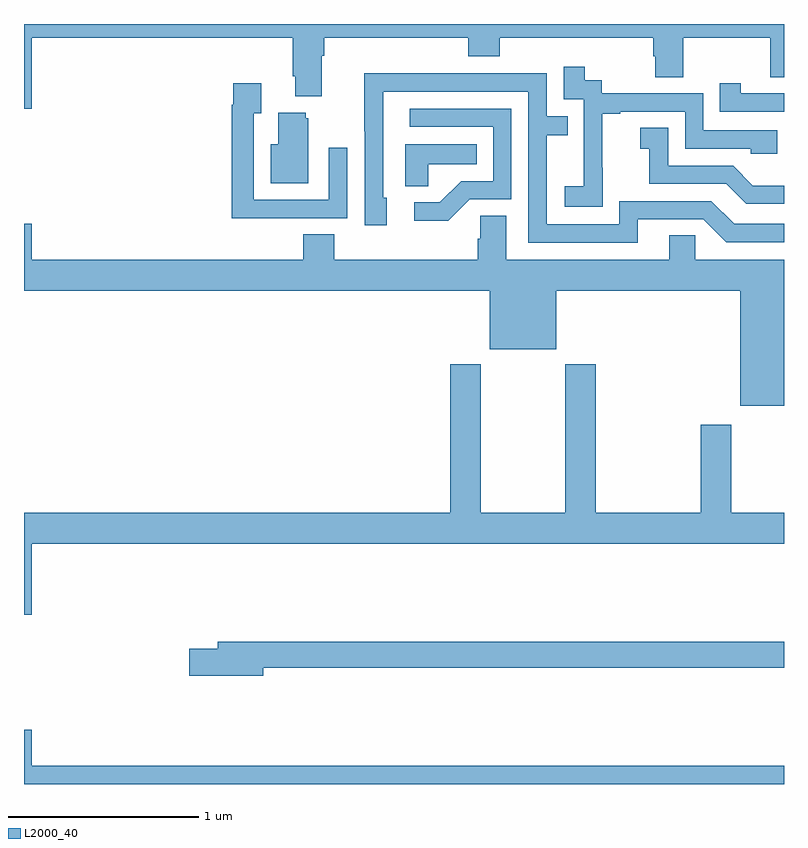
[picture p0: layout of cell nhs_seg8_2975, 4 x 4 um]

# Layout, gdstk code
import gdstk
lib = gdstk.Library(unit=1e-6, precision=1e-09)
def P(c, l, *ps):  # polygons
    for p in ps: c.add(gdstk.Polygon(p, *l))
L2000_40 = (2000, 40)

nhs_seg8_2975 = lib.new_cell('nhs_seg8_2975')
P(nhs_seg8_2975, L2000_40, [(297,1121.454),(297.04,1121.454),(297.04,1121.828),(298.415,1121.828),(298.415,1121.626),(298.427,1121.626),(298.427,1121.519),(298.567,1121.519),(298.567,1121.732),(298.58,1121.732),(298.58,1121.828),(299.339,1121.828),(299.339,1121.729),(299.504,1121.729),(299.504,1121.828),(300.311,1121.828),(300.311,1121.73),(300.323,1121.73),(300.323,1121.62),(300.471,1121.62),(300.471,1121.828),(300.928,1121.828),(300.928,1121.62),(301,1121.62),(301,1121.9),(297,1121.9)],
  [(300.045,1121.143),(300.044,1121.143),(300.044,1121.427),(300.139,1121.427),(300.139,1121.439),(300.48,1121.439),(300.48,1121.244),(300.825,1121.244),(300.825,1121.217),(300.965,1121.217),(300.965,1121.34),(300.576,1121.34),(300.576,1121.535),(300.042,1121.535),(300.042,1121.604),(299.95,1121.604),(299.95,1121.674),(299.841,1121.674),(299.841,1121.505),(299.946,1121.505),(299.946,1121.276),(299.945,1121.276),(299.945,1121.047),(299.847,1121.047),(299.847,1120.937),(300.045,1120.937)],
  [(300.229,1120.872),(300.576,1120.872),(300.696,1120.752),(301,1120.752),(301,1120.848),(300.738,1120.848),(300.618,1120.968),(300.132,1120.968),(300.132,1120.845),(299.751,1120.845),(299.751,1121.314),(299.861,1121.314),(299.861,1121.415),(299.751,1121.415),(299.751,1121.64),(299.255,1121.64),(299.255,1121.642),(298.792,1121.642),(298.792,1121.335),(298.794,1121.335),(298.794,1120.842),(298.909,1120.842),(298.909,1120.986),(298.89,1120.986),(298.89,1121.544),(299.655,1121.544),(299.655,1120.749),(300.229,1120.749)],
  [(301,1121.535),(300.772,1121.535),(300.772,1121.587),(300.661,1121.587),(300.661,1121.439),(301,1121.439)],
  [(298.385,1120.878),(298.701,1120.878),(298.701,1121.248),(298.605,1121.248),(298.605,1120.974),(298.209,1120.974),(298.209,1121.431),(298.249,1121.431),(298.249,1121.587),(298.101,1121.587),(298.101,1121.474),(298.093,1121.474),(298.093,1120.877),(298.385,1120.877)],
  [(299.346,1120.977),(299.565,1120.977),(299.565,1121.454),(299.031,1121.454),(299.031,1121.358),(299.469,1121.358),(299.469,1121.073),(299.3,1121.073),(299.189,1120.962),(299.055,1120.962),(299.055,1120.865),(299.233,1120.865)],
  [(298.495,1121.403),(298.484,1121.403),(298.484,1121.434),(298.337,1121.434),(298.337,1121.266),(298.298,1121.266),(298.298,1121.063),(298.495,1121.063)],
  [(301,1121.05),(300.836,1121.05),(300.732,1121.154),(300.39,1121.154),(300.39,1121.353),(300.243,1121.353),(300.243,1121.243),(300.292,1121.243),(300.292,1121.058),(300.695,1121.058),(300.8,1120.953),(301,1120.953)],
  [(299.127,1121.162),(299.384,1121.162),(299.384,1121.266),(299.006,1121.266),(299.006,1121.047),(299.127,1121.047)],
  [(300.77,1119.89),(301,1119.89),(301,1120.66),(300.534,1120.66),(300.534,1120.787),(300.395,1120.787),(300.395,1120.66),(299.539,1120.66),(299.539,1120.892),(299.4,1120.892),(299.4,1120.769),(299.387,1120.769),(299.387,1120.66),(298.634,1120.66),(298.634,1120.793),(298.469,1120.793),(298.469,1120.66),(297.04,1120.66),(297.04,1120.849),(297,1120.849),(297,1120.496),(299.45,1120.496),(299.45,1120.187),(299.8,1120.187),(299.8,1120.496),(300.77,1120.496)],
  [(297.04,1119.164),(301,1119.164),(301,1119.328),(300.723,1119.328),(300.723,1119.79),(300.563,1119.79),(300.563,1119.328),(300.008,1119.328),(300.008,1120.108),(299.848,1120.108),(299.848,1119.328),(299.403,1119.328),(299.403,1120.108),(299.243,1120.108),(299.243,1119.328),(297,1119.328),(297,1118.79),(297.04,1118.79)],
  [(298.258,1118.512),(301,1118.512),(301,1118.648),(298.019,1118.648),(298.019,1118.612),(297.87,1118.612),(297.87,1118.47),(298.258,1118.47)],
  [(301,1117.996),(297.04,1117.996),(297.04,1118.185),(297,1118.185),(297,1117.9),(301,1117.9)])

lib.write_gds('nhs_seg8_2975.gds')
